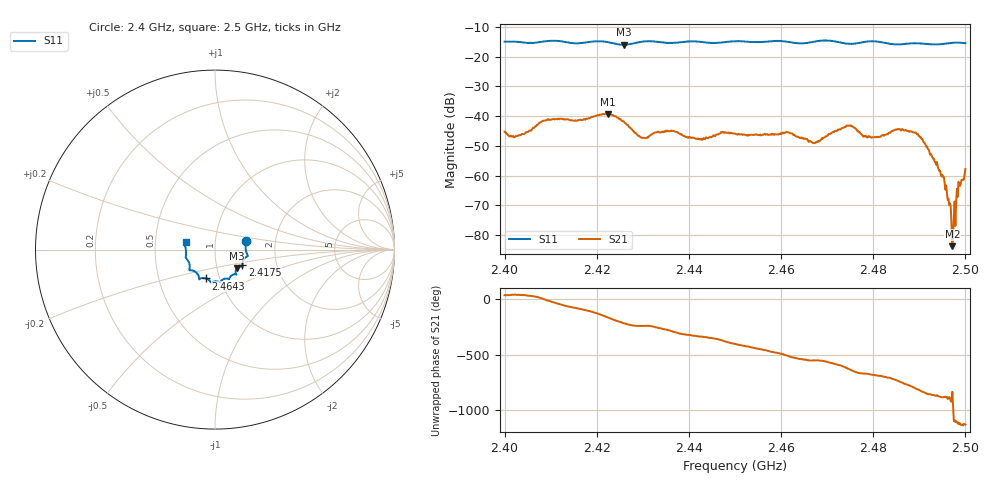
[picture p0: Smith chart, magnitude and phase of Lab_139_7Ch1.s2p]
# Hz S RI R 50
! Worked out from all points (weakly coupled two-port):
!   601 points, 2.4 GHz to 2.5 GHz, reference 50 ohm
!   highest |S21| = -39.24 dB at 2.4223 GHz (marker M1); lowest = -83.8 dB at 2.4972 GHz (marker M2)
!   lowest |S11| = -15.9 dB at 2.4258 GHz (marker M3), VSWR 1.38, Z = 62.3 - j13.2 ohm
!   |S11| at or under -10 dB: start of sweep to end of sweep
!   S12 and S22 are empty: the file has one direction only
!   S11 on the Smith chart (normalised r, x): 2.4 GHz: 1.41, +0.14; 2.4175 GHz: 1.34, -0.23; 2.4643 GHz: 0.86, -0.29; 2.5 GHz: 0.72, +0.06
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2.4e9  0.1728 0.0489  0.00464 0.00292  0 0  0 0
2.4025e9  0.1754 0.038  0.00377 0.00264  0 0  0 0
2.416667e9  0.1533 -0.0744  -0.000703 -0.00865  0 0  0 0
2.4175e9  0.1522 -0.0839  -0.00189 -0.00852  0 0  0 0
2.422333e9  0.1496 -0.0951  -0.0106 -0.00256  0 0  0 0
2.425833e9  0.1215 -0.1033  -0.00632 0.00517  0 0  0 0
2.429833e9  0.1172 -0.1355  -0.00195 0.00383  0 0  0 0
2.433333e9  0.1129 -0.1373  -0.0008 0.00541  0 0  0 0
2.4425e9  0.0723 -0.1633  0.00379 0.0014  0 0  0 0
2.45e9  0.0289 -0.1809  0.00353 -0.00366  0 0  0 0
2.464333e9  -0.0499 -0.1608  -0.00437 7.16e-05  0 0  0 0
2.466667e9  -0.0759 -0.1593  -0.00356 0.000875  0 0  0 0
2.474667e9  -0.1031 -0.1293  -0.000218 0.00692  0 0  0 0
2.478333e9  -0.1376 -0.1152  0.00312 0.00345  0 0  0 0
2.483333e9  -0.1407 -0.0898  0.00508 0.00114  0 0  0 0
2.486667e9  -0.1534 -0.058  0.0044 -0.00374  0 0  0 0
2.490667e9  -0.1627 -0.0367  -0.0017 -0.00376  0 0  0 0
2.495e9  -0.1638 0.00981  -0.000983 -0.000306  0 0  0 0
2.497167e9  -0.1698 0.0279  -2.6e-05 -5.92e-05  0 0  0 0
2.4975e9  -0.1702 0.0297  0.000198 -6.04e-05  0 0  0 0
2.498667e9  -0.1694 0.0354  0.000506 -0.000505  0 0  0 0
2.5e9  -0.164 0.0427  0.000863 -0.000952  0 0  0 0
